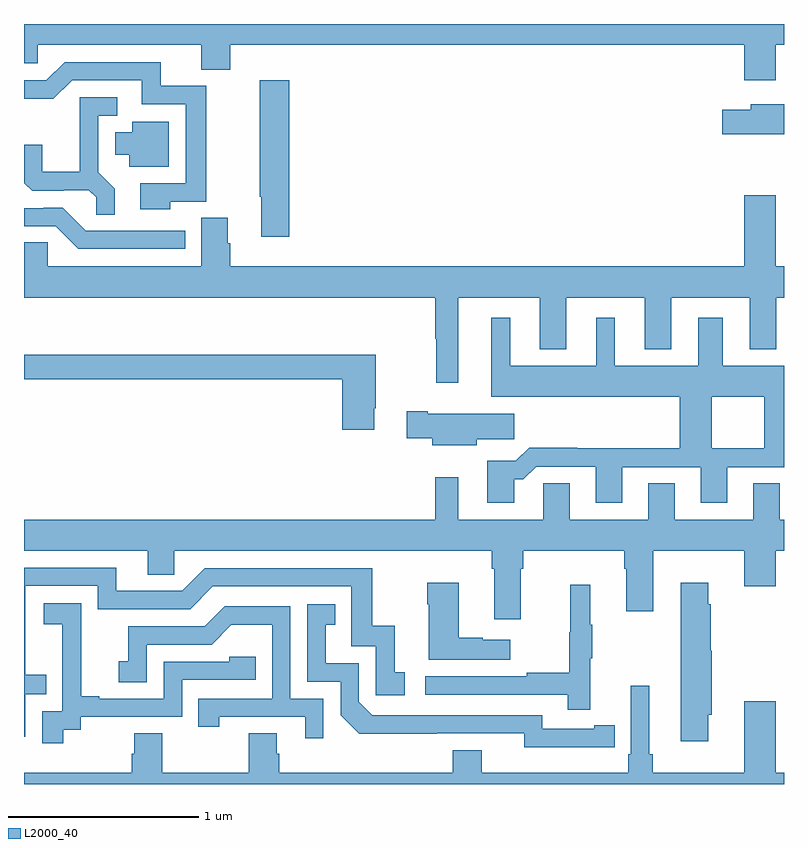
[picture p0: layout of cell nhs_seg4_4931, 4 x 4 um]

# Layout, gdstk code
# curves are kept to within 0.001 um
import gdstk
lib = gdstk.Library(unit=1e-6, precision=1e-09)
def P(c, l, *ps):  # polygons
    for p in ps: c.add(gdstk.Polygon(p, *l))
L2000_40 = (2000, 40)

nhs_seg4_4931 = lib.new_cell('nhs_seg4_4931')
P(nhs_seg4_4931, L2000_40, [(380.956,824.792),(381,824.792),(381,824.9),(377,824.9),(377,824.694),(377.073,824.694),(377.073,824.792),(377.933,824.792),(377.933,824.659),(378.086,824.659),(378.086,824.792),(380.792,824.792),(380.792,824.604),(380.956,824.604)],
  [(377.769,823.965),(377.959,823.965),(377.959,824.574),(377.72,824.574),(377.72,824.7),(377.214,824.7),(377.118,824.604),(377,824.604),(377,824.506),(377.155,824.506),(377.253,824.604),(377.621,824.604),(377.621,824.478),(377.85,824.478),(377.85,824.061),(377.613,824.061),(377.613,823.925),(377.769,823.925)],
  [(378.395,824.605),(378.241,824.605),(378.241,823.991),(378.248,823.991),(378.248,823.779),(378.395,823.779)],
  [(377.477,824.033),(377.391,824.119),(377.391,824.418),(377.491,824.418),(377.491,824.514),(377.294,824.514),(377.294,824.122),(377.096,824.122),(377.096,824.265),(377.002,824.265),(377.002,824.063),(377.043,824.022),(377.208,824.022),(377.208,824.025),(377.342,824.025),(377.379,823.988),(377.379,823.897),(377.477,823.897)],
  [(381,824.478),(380.825,824.478),(380.825,824.449),(380.676,824.449),(380.676,824.32),(381,824.32)],
  [(377.761,824.386),(377.57,824.386),(377.57,824.329),(377.48,824.329),(377.48,824.213),(377.555,824.213),(377.555,824.15),(377.761,824.15)],
  [(379.285,823.46),(379.715,823.46),(379.715,823.187),(379.855,823.187),(379.855,823.46),(380.267,823.46),(380.267,823.187),(380.407,823.187),(380.407,823.46),(380.819,823.46),(380.819,823.187),(380.959,823.187),(380.959,823.46),(381,823.46),(381,823.624),(380.956,823.624),(380.956,823.999),(380.792,823.999),(380.792,823.624),(378.086,823.624),(378.086,823.746),(378.073,823.746),(378.073,823.88),(377.933,823.88),(377.933,823.624),(377.124,823.624),(377.124,823.751),(377,823.751),(377,823.46),(379.164,823.46),(379.164,823.244),(379.171,823.244),(379.171,823.011),(379.285,823.011)],
  [(377.848,823.812),(377.325,823.812),(377.205,823.932),(377.104,823.932),(377.104,823.929),(377,823.929),(377,823.836),(377.166,823.836),(377.286,823.716),(377.848,823.716)],
  [(379.913,822.671),(379.658,822.671),(379.588,822.601),(379.439,822.601),(379.439,822.381),(379.579,822.381),(379.579,822.503),(379.628,822.503),(379.695,822.57),(380.009,822.57),(380.009,822.381),(380.149,822.381),(380.149,822.567),(380.561,822.567),(380.561,822.381),(380.701,822.381),(380.701,822.567),(381,822.567),(381,823.102),(380.677,823.102),(380.677,823.354),(380.549,823.354),(380.549,823.102),(380.11,823.102),(380.11,823.354),(380.012,823.354),(380.012,823.102),(379.558,823.102),(379.558,823.354),(379.46,823.354),(379.46,822.938),(380.45,822.938),(380.45,822.668),(380.62,822.668),(380.62,822.938),(380.897,822.938),(380.897,822.668),(379.913,822.668)],
  [(378.844,822.877),(378.852,822.877),(378.852,823.159),(377,823.159),(377,823.03),(378.674,823.03),(378.674,822.765),(378.844,822.765)],
  [(379.384,822.715),(379.579,822.715),(379.579,822.85),(379.126,822.85),(379.126,822.863),(379.014,822.863),(379.014,822.721),(379.148,822.721),(379.148,822.683),(379.384,822.683)],
  [(379.615,822.032),(379.628,822.032),(379.628,822.128),(380.159,822.128),(380.159,822.032),(380.171,822.032),(380.171,821.808),(380.311,821.808),(380.311,822.128),(380.792,822.128),(380.792,821.94),(380.956,821.94),(380.956,822.128),(381,822.128),(381,822.292),(380.977,822.292),(380.977,822.482),(380.837,822.482),(380.837,822.292),(380.425,822.292),(380.425,822.482),(380.285,822.482),(380.285,822.292),(379.873,822.292),(379.873,822.482),(379.734,822.482),(379.734,822.292),(379.285,822.292),(379.285,822.514),(379.164,822.514),(379.164,822.292),(377,822.292),(377,822.128),(377.651,822.128),(377.651,822.001),(377.79,822.001),(377.79,822.128),(379.463,822.128),(379.463,822.032),(379.475,822.032),(379.475,821.766),(379.615,821.766)],
  [(377.007,821.373),(377.117,821.373),(377.117,821.474),(377.007,821.474),(377.007,821.943),(377.388,821.943),(377.388,821.82),(377.874,821.82),(377.994,821.94),(378.723,821.94),(378.723,821.625),(378.852,821.625),(378.852,821.367),(379.003,821.367),(379.003,821.487),(378.95,821.487),(378.95,821.734),(378.832,821.734),(378.832,822.036),(377.952,822.036),(377.832,821.916),(377.485,821.916),(377.485,822.039),(377,822.039),(377,821.148),(377.007,821.148)],
  [(380.602,821.265),(380.62,821.265),(380.62,821.601),(380.615,821.601),(380.615,821.846),(380.602,821.846),(380.602,821.959),(380.456,821.959),(380.456,821.124),(380.602,821.124)],
  [(379.558,821.659),(379.415,821.659),(379.415,821.669),(379.288,821.669),(379.288,821.959),(379.123,821.959),(379.123,821.846),(379.13,821.846),(379.13,821.555),(379.558,821.555)],
  [(379.979,821.563),(379.99,821.563),(379.99,821.737),(379.979,821.737),(379.979,821.95),(379.876,821.95),(379.876,821.7),(379.869,821.7),(379.869,821.486),(379.645,821.486),(379.645,821.466),(379.113,821.466),(379.113,821.37),(379.861,821.37),(379.861,821.292),(379.979,821.292)],
  [(377.206,821.185),(377.298,821.185),(377.298,821.253),(377.832,821.253),(377.832,821.448),(378.221,821.448),(378.221,821.571),(378.081,821.571),(378.081,821.544),(377.736,821.544),(377.736,821.349),(377.395,821.349),(377.395,821.362),(377.3,821.362),(377.3,821.645),(377.301,821.645),(377.301,821.851),(377.103,821.851),(377.103,821.741),(377.201,821.741),(377.201,821.513),(377.202,821.513),(377.202,821.283),(377.097,821.283),(377.097,821.115),(377.206,821.115)],
  [(380,821.094),(380.108,821.094),(380.108,821.21),(380,821.21),(380,821.19),(379.728,821.19),(379.728,821.262),(378.834,821.262),(378.762,821.334),(378.762,821.535),(378.589,821.535),(378.589,821.739),(378.638,821.739),(378.638,821.845),(378.492,821.845),(378.492,821.439),(378.666,821.439),(378.666,821.262),(378.764,821.165),(379.632,821.166),(379.632,821.093)],
  [(378.576,821.349),(378.402,821.349),(378.402,821.835),(378.056,821.835),(377.951,821.73),(377.548,821.73),(377.548,821.545),(377.499,821.545),(377.499,821.436),(377.646,821.436),(377.646,821.634),(377.988,821.634),(378.092,821.738),(378.306,821.738),(378.306,821.349),(377.917,821.349),(377.917,821.202),(378.028,821.202),(378.028,821.253),(378.479,821.253),(378.479,821.142),(378.576,821.142)],
  [(381,820.96),(380.956,820.96),(380.956,821.335),(380.792,821.335),(380.792,820.96),(380.309,820.96),(380.309,821.056),(380.29,821.056),(380.29,821.416),(380.193,821.416),(380.193,821.056),(380.18,821.056),(380.18,820.96),(379.408,820.96),(379.408,821.077),(379.256,821.077),(379.256,820.96),(378.344,820.96),(378.344,821.058),(378.331,821.058),(378.331,821.168),(378.184,821.168),(378.184,820.96),(377.727,820.96),(377.727,821.168),(377.579,821.168),(377.579,821.058),(377.567,821.058),(377.567,820.96),(377,820.96),(377,820.9),(381,820.9)])

lib.write_gds('nhs_seg4_4931.gds')
